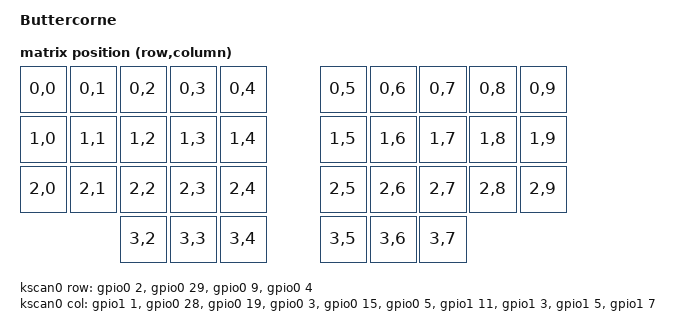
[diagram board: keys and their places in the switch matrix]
/*
 * Buttercorne — custom nRF52840 keyboard (4 rows × 10 cols, single board)
 *
 * Matrix pin assignments from RMK firmware (src/main.rs):
 *   Row 0 → P0.02   Row 1 → P0.29   Row 2 → P0.09   Row 3 → P0.04
 *   Col 0 → P1.01   Col 1 → P0.28   Col 2 → P0.19   Col 3 → P0.03   Col 4 → P0.15
 *   Col 5 → P0.05   Col 6 → P1.11   Col 7 → P1.03   Col 8 → P1.05   Col 9 → P1.07
 *
 * Diode direction: col2row (columns driven HIGH, rows sensed with pull-down)
 *
 * Flash layout matches the Adafruit nRF52 bootloader (code at 0x26000),
 * same as nice!nano — produces a .uf2 that can be drag-dropped.
 *
 * SPDX-License-Identifier: MIT
 */

/dts-v1/;

#include <nordic/nrf52840_qiaa.dtsi>
#include <dt-bindings/zmk/matrix_transform.h>

/ {
    model = "Buttercorne";
    compatible = "custom,buttercorne";

    chosen {
        zephyr,code-partition = &code_partition;
        zephyr,sram = &sram0;
        zephyr,flash = &flash0;
        zmk,kscan = &kscan0;
        zmk,matrix-transform = &default_transform;
    };

    /*
     * Matrix transform for the Buttercorne:
     *
     * Rows 0-2: 5 keys per half (10 total per row)
     * Row 3:    thumb row — only columns 2-7 have physical switches;
     *           columns 0, 1, 8, 9 are matrix gaps (no switch).
     *
     * Logical key order (36 keys total):
     *   [ Row 0: 10 ] [ Row 1: 10 ] [ Row 2: 10 ] [ Thumb: 6 ]
     */
    default_transform: keymap_transform_0 {
        compatible = "zmk,matrix-transform";
        columns = <10>;
        rows = <4>;
        //  Left half (cols 0-4)              Right half (cols 5-9)
        map = <
RC(0,0) RC(0,1) RC(0,2) RC(0,3) RC(0,4)    RC(0,5) RC(0,6) RC(0,7) RC(0,8) RC(0,9)
RC(1,0) RC(1,1) RC(1,2) RC(1,3) RC(1,4)    RC(1,5) RC(1,6) RC(1,7) RC(1,8) RC(1,9)
RC(2,0) RC(2,1) RC(2,2) RC(2,3) RC(2,4)    RC(2,5) RC(2,6) RC(2,7) RC(2,8) RC(2,9)
                RC(3,2) RC(3,3) RC(3,4)    RC(3,5) RC(3,6) RC(3,7)
        >;
    };

    kscan0: kscan {
        compatible = "zmk,kscan-gpio-matrix";
        wakeup-source;

        diode-direction = "col2row";

        row-gpios
            = <&gpio0  2 (GPIO_ACTIVE_HIGH | GPIO_PULL_DOWN)>
            , <&gpio0 29 (GPIO_ACTIVE_HIGH | GPIO_PULL_DOWN)>
            , <&gpio0  9 (GPIO_ACTIVE_HIGH | GPIO_PULL_DOWN)>
            , <&gpio0  4 (GPIO_ACTIVE_HIGH | GPIO_PULL_DOWN)>
            ;

        col-gpios
            = <&gpio1  1 GPIO_ACTIVE_HIGH>
            , <&gpio0 28 GPIO_ACTIVE_HIGH>
            , <&gpio0 19 GPIO_ACTIVE_HIGH>
            , <&gpio0  3 GPIO_ACTIVE_HIGH>
            , <&gpio0 15 GPIO_ACTIVE_HIGH>
            , <&gpio0  5 GPIO_ACTIVE_HIGH>
            , <&gpio1 11 GPIO_ACTIVE_HIGH>
            , <&gpio1  3 GPIO_ACTIVE_HIGH>
            , <&gpio1  5 GPIO_ACTIVE_HIGH>
            , <&gpio1  7 GPIO_ACTIVE_HIGH>
            ;
    };
};

&reg0 {
    status = "okay";
};

&reg1 {
    regulator-initial-mode = <NRF5X_REG_MODE_DCDC>;
};

&adc {
    status = "okay";
};

&gpiote {
    status = "okay";
};

&gpio0 {
    status = "okay";
};

&gpio1 {
    status = "okay";
};

zephyr_udc0: &usbd {
    status = "okay";

    cdc_acm_uart: cdc_acm_uart {
        compatible = "zephyr,cdc-acm-uart";
    };
};

/ {
    chosen {
        zephyr,console = &cdc_acm_uart;
        zephyr,shell-uart = &cdc_acm_uart;
    };
};

&flash0 {
    /*
     * Buttercorne flash layout (Adafruit nRF52 bootloader, app at 0x1000):
     *   0x00000000 - 0x00000FFF  Nordic MBR (4 KB)
     *   0x00001000 - 0x000EBFFF  ZMK application code (~940 KB)
     *   0x000EC000 - 0x000F3FFF  NVS settings storage (32 KB)
     *   0x000F4000 - 0x000FFFFF  Adafruit DFU bootloader (48 KB)
     *
     * NOTE: The bootloader on this board jumps to 0x1000 (confirmed via RMK
     * firmware memory.x: ORIGIN = 0x1000). XIAO's stock bootloader uses 0x27000
     * — if the bootloader is ever replaced, this partition table must change.
     */
    partitions {
        compatible = "fixed-partitions";
        #address-cells = <1>;
        #size-cells = <1>;

        /* Nordic MBR — reserved, not used by ZMK */
        sd_partition: partition@0 {
            reg = <0x00000000 0x00001000>;
        };
        code_partition: partition@1000 {
            reg = <0x00001000 0x000eb000>;
        };
        storage_partition: partition@ec000 {
            reg = <0x000ec000 0x00008000>;
        };
        boot_partition: partition@f4000 {
            reg = <0x000f4000 0x0000c000>;
        };
    };
};
